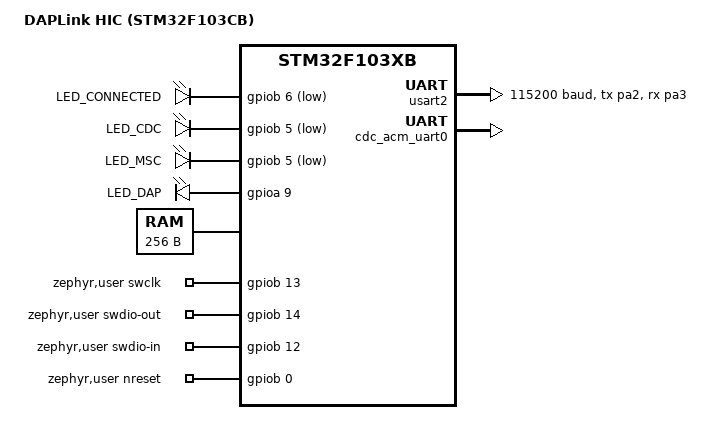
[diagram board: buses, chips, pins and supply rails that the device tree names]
/*
 * DAPLink HIC (hardware/daplink) on stm32_min_dev (blue), STM32F103CB
 *
 * Shared by app (interface) and bootloader.
 *
 * Pin map follows DAPLink source/hic_hal/stm32/stm32f103xb/IO_Config.h
 * and hardware/daplink/daplink.kicad_sch:
 *   PB13  TGT_SWCLK
 *   PB14  TGT_SWDIO (out)
 *   PB12  TGT_SWDIO (in, via 4K7)
 *   PB0   TGT_RST   (open drain)
 *   PA2   TGT_RX    (USART2 TX -> target RX)
 *   PA3   TGT_TX    (USART2 RX <- target TX)
 *   PA10  TGT_SWO   (USART1 RX, SWO UART capture)
 *   PB6   LED blue  (active low)  - IF: connected
 *   PB5   LED green (active low)  - IF: CDC activity, BL: MSC activity
 *   PA9   LED red   (active high) - IF: DAP activity
 *   PA12  USB D+ fixed 1K5 pull-up (R15), no USB connect pin
 *
 * Memory map (DAPLink source/hic_hal/stm32/stm32f103xb/daplink_addr.h):
 *   0x08000000  bootloader  47 KB
 *   0x0800C000  interface   79 KB
 *   0x0801FC00  config user 1 KB
 *   0x20004F00  cfgram      256 B, shared BL <-> IF, not initialized
 *
 * SPDX-License-Identifier: Apache-2.0
 */

/ {
	model = "DAPLink HIC (STM32F103CB)";

	aliases {
		/delete-property/ led0;
	};

	chosen {
		/delete-property/ zephyr,console;
		/delete-property/ zephyr,shell-uart;
		/delete-property/ zephyr,osdp-uart;
		daplink,target-uart = &usart2;
		daplink,swo-uart = &usart1;
	};

	/delete-node/ leds;

	leds {
		compatible = "gpio-leds";

		led_connected: led_connected {
			gpios = <&gpiob 6 GPIO_ACTIVE_LOW>;
			label = "LED_CONNECTED";
		};

		led_cdc: led_cdc {
			gpios = <&gpiob 5 GPIO_ACTIVE_LOW>;
			label = "LED_CDC";
		};

		/* DAPLink PIN_MSC_LED, shared with CDC as in IO_Config.h */
		led_msc: led_msc {
			gpios = <&gpiob 5 GPIO_ACTIVE_LOW>;
			label = "LED_MSC";
		};

		led_dap: led_dap {
			gpios = <&gpioa 9 GPIO_ACTIVE_HIGH>;
			label = "LED_DAP";
		};
	};

	/* DAPLink settings.c config_ram, kept across BL <-> IF resets */
	cfgram: memory@20004f00 {
		compatible = "zephyr,memory-region", "mmio-sram";
		reg = <0x20004f00 0x100>;
		zephyr,memory-region = "cfgram";
	};

	zephyr,user {
		swclk-gpios = <&gpiob 13 GPIO_ACTIVE_HIGH>;
		swdio-out-gpios = <&gpiob 14 GPIO_ACTIVE_HIGH>;
		swdio-in-gpios = <&gpiob 12 GPIO_PULL_UP>;
		nreset-gpios = <&gpiob 0 (GPIO_OPEN_DRAIN | GPIO_PULL_UP)>;
	};
};

/* DAPLink HIC uses STM32F103CB (128 KB), the base board describes a C8 */
&flash0 {
	reg = <0x08000000 DT_SIZE_K(128)>;

	partitions {
		compatible = "fixed-partitions";
		#address-cells = <1>;
		#size-cells = <1>;

		bl_partition: partition@0 {
			label = "bootloader";
			reg = <0x00000000 0x0000bc00>;
		};

		if_partition: partition@c000 {
			label = "interface";
			reg = <0x0000c000 0x00013c00>;
		};

		config_partition: partition@1fc00 {
			label = "config-user";
			reg = <0x0001fc00 0x00000400>;
		};
	};
};

/* Remaining RAM after cfgram */
&sram0 {
	reg = <0x20000000 0x4f00>;
};

/*
 * SWO UART capture, driven directly by src/swo_uart.c (CMSIS-Driver USART
 * for DAPLink SWO.c). Kept "disabled" so the Zephyr serial driver does not
 * claim it; only RX is used, PA9 (USART1 TX) is the red LED.
 */
&usart1 {
	pinctrl-0 = <&usart1_rx_pa10>;
	pinctrl-names = "default";
	status = "disabled";
};

/* Pins shared with the DAPLink hardware, release them */
&usart3 {
	status = "disabled";
};

&i2c1 {
	status = "disabled";
};

&i2c2 {
	status = "disabled";
};

&spi1 {
	status = "disabled";
};

&adc1 {
	status = "disabled";
};

&spi2 {
	status = "disabled";
};

&timers1 {
	status = "disabled";
};

&pwm1 {
	status = "disabled";
};

/* Target UART */
&usart2 {
	pinctrl-0 = <&usart2_tx_pa2 &usart2_rx_pa3>;
	pinctrl-names = "default";
	current-speed = <115200>;
	status = "okay";
};

&zephyr_udc0 {
	cdc_acm_uart0: cdc_acm_uart0 {
		compatible = "zephyr,cdc-acm-uart";
	};
};
